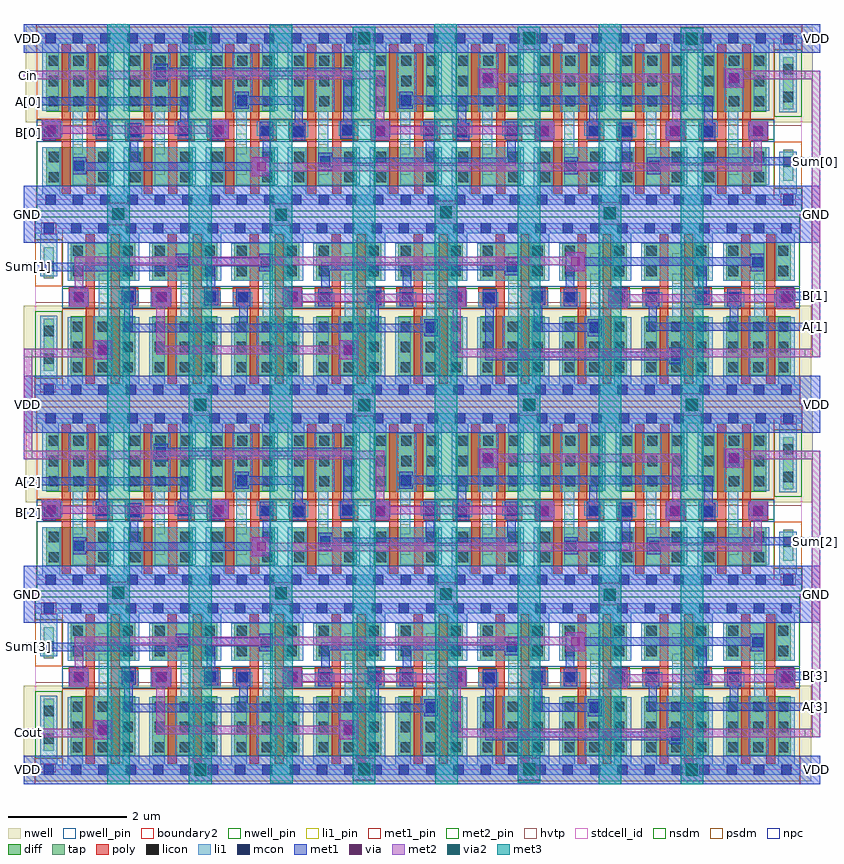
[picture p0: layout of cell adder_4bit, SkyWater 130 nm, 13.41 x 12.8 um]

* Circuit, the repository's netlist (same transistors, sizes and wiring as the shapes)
* NGSPICE file created from adder_4bit.ext - technology: sky130A

.subckt sky130_fd_sc_hd__nand2_1 A B VGND VNB VPB VPWR Y
X0 VPWR A Y VPB sky130_fd_pr__pfet_01v8_hvt ad=0.26 pd=2.52 as=0.135 ps=1.27 w=1 l=0.15
X1 Y A a_113_47# VNB sky130_fd_pr__nfet_01v8 ad=0.169 pd=1.82 as=0.08775 ps=0.92 w=0.65 l=0.15
X2 a_113_47# B VGND VNB sky130_fd_pr__nfet_01v8 ad=0.08775 pd=0.92 as=0.169 ps=1.82 w=0.65 l=0.15
X3 Y B VPWR VPB sky130_fd_pr__pfet_01v8_hvt ad=0.135 pd=1.27 as=0.26 ps=2.52 w=1 l=0.15
.ends

.subckt adder_1bit A B Cin Cout Sum VDD GND
Xx1 A B GND GND VDD VDD x9/A sky130_fd_sc_hd__nand2_1
Xx3 x9/A B GND GND VDD VDD x4/B sky130_fd_sc_hd__nand2_1
Xx2 A x9/A GND GND VDD VDD x4/A sky130_fd_sc_hd__nand2_1
Xx4 x4/A x4/B GND GND VDD VDD x6/A sky130_fd_sc_hd__nand2_1
Xx5 x6/A Cin GND GND VDD VDD x9/B sky130_fd_sc_hd__nand2_1
Xx6 x6/A x9/B GND GND VDD VDD x8/A sky130_fd_sc_hd__nand2_1
Xx7 x9/B Cin GND GND VDD VDD x8/B sky130_fd_sc_hd__nand2_1
Xx8 x8/A x8/B GND GND VDD VDD Sum sky130_fd_sc_hd__nand2_1
Xx9 x9/A x9/B GND GND VDD VDD Cout sky130_fd_sc_hd__nand2_1
.ends

.subckt adder_4bit Cin Cout VDD GND A[0] B[0] A[2] B[2] B[1] A[1] Sum[2] B[3] A[3]
+ Sum[0] Sum[1] Sum[3]
Xx1 A[0] B[0] Cin x2/Cin Sum[0] VDD GND adder_1bit
Xx2 A[1] B[1] x2/Cin x3/Cin Sum[1] VDD GND adder_1bit
Xx3 A[2] B[2] x3/Cin x4/Cin Sum[2] VDD GND adder_1bit
Xx4 A[3] B[3] x4/Cin Cout Sum[3] VDD GND adder_1bit
.ends

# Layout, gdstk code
from math import pi, radians
import gdstk
lib = gdstk.Library(unit=1e-6, precision=1e-09)
def R(c, l, rs):  # rectangles x0, y0, x1, y1
    for r in rs: c.add(gdstk.rectangle(r[:2], r[2:], *l))
def A(c, l, x, y, w, h, nx, ny, dx, dy):  # array of equal rectangles
    R(c, l, [(x+i*dx, y+j*dy, x+i*dx+w, y+j*dy+h) for i in range(nx) for j in range(ny)])
def P(c, l, *ps):  # polygons
    for p in ps: c.add(gdstk.Polygon(p, *l))
nwell_pin = (64, 16)
nwell = (64, 20)
diff = (65, 20)
tap = (65, 44)
poly = (66, 20)
licon = (66, 44)
li1_pin = (67, 16)
li1 = (67, 20)
mcon = (67, 44)
met1_pin = (68, 16)
met1 = (68, 20)
via = (68, 44)
met2_pin = (69, 16)
met2 = (69, 20)
via2 = (69, 44)
met3 = (70, 20)
hvtp = (78, 44)
stdcell_id = (81, 4)
nsdm = (93, 44)
psdm = (94, 20)
npc = (95, 20)
pwell_pin = (122, 16)
boundary2 = (236, 0)

sky130_fd_sc_hd__nand2_1 = lib.new_cell('sky130_fd_sc_hd__nand2_1')
R(sky130_fd_sc_hd__nand2_1, nwell_pin, [(0.14,2.635,0.31,2.805)])
R(sky130_fd_sc_hd__nand2_1, nwell, [(-0.19,1.305,1.57,2.91)])
R(sky130_fd_sc_hd__nand2_1, diff, [(0.155,0.235,1.245,0.885), (0.155,1.485,1.245,2.485)])
P(sky130_fd_sc_hd__nand2_1, poly, [(1.275,1.325),(0.985,1.325),(0.985,2.615),(0.835,2.615),(0.835,0.105),(0.985,0.105),(0.985,0.995),(1.275,0.995)],
  [(0.565,2.615),(0.415,2.615),(0.415,1.325),(0.105,1.325),(0.105,0.995),(0.415,0.995),(0.415,0.105),(0.565,0.105)])
A(sky130_fd_sc_hd__nand2_1, licon, 0.195, 1.575, 0.17, 0.17, 3, 3, 0.42, 0.34)
R(sky130_fd_sc_hd__nand2_1, licon, [(0.195,0.295,0.365,0.465), (1.035,0.295,1.205,0.465), (0.195,0.635,0.365,0.805), (1.035,0.635,1.205,0.805), (0.18,1.075,0.35,1.245), (1.02,1.075,1.19,1.245)])
A(sky130_fd_sc_hd__nand2_1, li1_pin, 0.14, 1.105, 0.17, 0.17, 3, 1, 0.46, 0)
R(sky130_fd_sc_hd__nand2_1, li1_pin, [(0.6,0.425,0.77,0.595), (0.6,0.765,0.77,0.935)])
R(sky130_fd_sc_hd__nand2_1, li1, [(0.095,1.055,0.43,1.325), (0.94,1.075,1.275,1.325)])
P(sky130_fd_sc_hd__nand2_1, li1, [(1.38,0.085),(0.395,0.085),(0.395,0.885),(0.085,0.885),(0.085,0.085),(0,0.085),(0,-0.085),(1.38,-0.085)],
  [(1.38,2.805),(0,2.805),(0,2.635),(0.085,2.635),(0.085,1.495),(0.365,1.495),(0.365,2.635),(1.035,2.635),(1.035,1.495),(1.295,1.495),(1.295,2.635),(1.38,2.635)],
  [(1.295,0.885),(0.77,0.885),(0.77,1.485),(0.865,1.485),(0.865,2.465),(0.535,2.465),(0.535,1.485),(0.6,1.485),(0.6,0.255),(1.295,0.255)])
A(sky130_fd_sc_hd__nand2_1, mcon, 0.145, -0.085, 0.17, 0.17, 3, 2, 0.46, 2.72)
R(sky130_fd_sc_hd__nand2_1, met1_pin, [(0.14,-0.085,0.31,0.085), (0.14,2.635,0.31,2.805)])
R(sky130_fd_sc_hd__nand2_1, hvtp, [(0,1.25,1.38,2.72)])
R(sky130_fd_sc_hd__nand2_1, stdcell_id, [(0,0,1.38,2.72)])
R(sky130_fd_sc_hd__nand2_1, nsdm, [(0,-0.19,1.38,1.015)])
R(sky130_fd_sc_hd__nand2_1, psdm, [(0,1.355,1.38,2.91)])
R(sky130_fd_sc_hd__nand2_1, npc, [(0,0.975,1.38,1.345)])
R(sky130_fd_sc_hd__nand2_1, pwell_pin, [(0.14,-0.085,0.31,0.085)])
R(sky130_fd_sc_hd__nand2_1, boundary2, [(0,0,1.38,2.72)])
sky130_fd_sc_hd__nand2_1.add(gdstk.FlexPath([(0,2.72),(1.38,2.72)], 0.48, ends="flush", simple_path=True, layer=68, datatype=20))  # met1
sky130_fd_sc_hd__nand2_1.add(gdstk.FlexPath([(0,0),(1.38,0)], 0.48, ends="flush", simple_path=True, layer=68, datatype=20))  # met1
sky130_fd_sc_hd__nand2_1.add(gdstk.Label('Y', (0.685,0.51), layer=67, texttype=5))
sky130_fd_sc_hd__nand2_1.add(gdstk.Label('Y', (0.685,0.85), layer=67, texttype=5))
sky130_fd_sc_hd__nand2_1.add(gdstk.Label('Y', (0.685,1.19), layer=67, texttype=5))
sky130_fd_sc_hd__nand2_1.add(gdstk.Label('B', (0.225,1.19), layer=67, texttype=5))
sky130_fd_sc_hd__nand2_1.add(gdstk.Label('A', (1.145,1.19), layer=67, texttype=5))
sky130_fd_sc_hd__nand2_1.add(gdstk.Label('VPB', (0.225,2.72), layer=64, texttype=5))
sky130_fd_sc_hd__nand2_1.add(gdstk.Label('VNB', (0.225,0), layer=64, texttype=59))
sky130_fd_sc_hd__nand2_1.add(gdstk.Label('VGND', (0.23,0), layer=68, texttype=5))
sky130_fd_sc_hd__nand2_1.add(gdstk.Label('VPWR', (0.225,2.72), layer=68, texttype=5))
sky130_fd_sc_hd__nand2_1.add(gdstk.Label('nand2_1', (0,0), layer=83, texttype=44))

sky130_fd_sc_hd__tapvpwr = lib.new_cell('sky130_fd_sc_hd__tapvpwrvgnd_1')
R(sky130_fd_sc_hd__tapvpwr, nwell, [(-0.19,1.305,0.65,2.91)])
R(sky130_fd_sc_hd__tapvpwr, tap, [(0.145,0.32,0.315,0.845), (0.145,1.525,0.315,2.4)])
R(sky130_fd_sc_hd__tapvpwr, licon, [(0.145,0.555,0.315,0.725), (0.145,1.645,0.315,1.815), (0.145,2.11,0.315,2.28)])
R(sky130_fd_sc_hd__tapvpwr, li1, [(0,-0.085,0.46,0.085), (0.085,0,0.375,0.81), (0.085,1.47,0.375,2.72), (0,2.635,0.46,2.805)])
R(sky130_fd_sc_hd__tapvpwr, mcon, [(0.145,-0.085,0.315,0.085), (0.145,2.635,0.315,2.805)])
R(sky130_fd_sc_hd__tapvpwr, met1_pin, [(0.105,-0.09,0.36,0.1), (0.11,2.62,0.375,2.765)])
R(sky130_fd_sc_hd__tapvpwr, met1, [(0,-0.24,0.46,0.24), (0,2.48,0.46,2.96)])
R(sky130_fd_sc_hd__tapvpwr, hvtp, [(0,1.25,0.46,2.72)])
R(sky130_fd_sc_hd__tapvpwr, stdcell_id, [(0,0,0.46,2.72)])
R(sky130_fd_sc_hd__tapvpwr, nsdm, [(0,-0.19,0.46,0.19), (0,1.395,0.46,2.53)])
R(sky130_fd_sc_hd__tapvpwr, psdm, [(0,0.19,0.46,0.975), (0,2.53,0.46,2.91)])
sky130_fd_sc_hd__tapvpwr.add(gdstk.Label('VPWR', (0.23,2.72), layer=68, texttype=5))
sky130_fd_sc_hd__tapvpwr.add(gdstk.Label('VGND', (0.23,0), layer=68, texttype=5))
sky130_fd_sc_hd__tapvpwr.add(gdstk.Label('tapvpwrvgnd_1', (0,0), layer=83, texttype=44))

adder_1bit = lib.new_cell('adder_1bit')
A(adder_1bit, li1, 1.75, 1.3, 0.17, 0.17, 3, 1, 1.38, 0)
A(adder_1bit, li1, 1.21, 1.32, 0.17, 0.17, 3, 1, 1.38, 0)
R(adder_1bit, li1, [(0.82,0.73,0.99,0.9), (9.1,0.73,9.27,0.9), (10.5,0.73,10.67,0.9), (4.96,0.8,5.13,0.97), (0.31,1.3,0.48,1.47), (7.27,1.3,7.44,1.47), (11.41,1.3,11.58,1.47), (5.88,1.31,6.05,1.48), (8.65,1.31,8.82,1.48), (10.02,1.31,10.19,1.48), (10.85,1.31,11.02,1.48), (12.25,1.31,12.42,1.48), (6.73,1.32,6.9,1.49), (8.1,1.32,8.27,1.49), (9.48,1.32,9.65,1.49), (5.33,1.33,5.5,1.5), (3.56,1.83,3.73,2), (6.32,1.83,6.49,2), (7.7,2.2,7.87,2.37), (11.84,2.2,12.01,2.37), (2.19,2.3,2.36,2.47)])
A(adder_1bit, mcon, 1.75, 1.3, 0.17, 0.17, 3, 1, 1.38, 0)
A(adder_1bit, mcon, 1.21, 1.32, 0.17, 0.17, 3, 1, 1.38, 0)
R(adder_1bit, mcon, [(0.82,0.73,0.99,0.9), (9.1,0.73,9.27,0.9), (10.5,0.73,10.67,0.9), (4.96,0.8,5.13,0.97), (0.31,1.3,0.48,1.47), (7.27,1.3,7.44,1.47), (11.41,1.3,11.58,1.47), (5.88,1.31,6.05,1.48), (8.65,1.31,8.82,1.48), (10.02,1.31,10.19,1.48), (10.85,1.31,11.02,1.48), (12.25,1.31,12.42,1.48), (6.73,1.32,6.9,1.49), (8.1,1.32,8.27,1.49), (9.48,1.32,9.65,1.49), (5.33,1.33,5.5,1.5), (3.56,1.83,3.73,2), (6.32,1.83,6.49,2), (7.7,2.2,7.87,2.37), (11.84,2.2,12.01,2.37), (2.19,2.3,2.36,2.47)])
R(adder_1bit, met1_pin, [(-0.03,0,0.19,0.48), (13.07,0,13.26,0.48), (13.12,0.82,13.26,0.96), (-0.03,1.31,0.11,1.45), (-0.03,1.83,0.11,1.97), (-0.03,2.72,0.19,3.2), (13.07,2.72,13.26,3.2)])
A(adder_1bit, met1, 1.72, 1.24, 0.23, 0.29, 3, 1, 2.76, 0)
A(adder_1bit, met1, 1.18, 1.26, 0.23, 0.29, 3, 1, 1.38, 0)
R(adder_1bit, met1, [(-0.03,0,13.26,0.48), (3.81,0.64,4.13,0.73), (0.79,0.67,1.02,0.73), (9.07,0.67,9.3,0.74), (10.47,0.67,10.7,0.82), (0.79,0.73,4.13,0.87), (4.93,0.74,5.16,0.81), (9.07,0.74,10.18,0.88), (4.93,0.81,8.25,0.95), (10.47,0.82,13.26,0.96), (0.79,0.87,1.02,0.96), (1.76,0.87,1.9,1.24), (3.81,0.87,4.13,0.96), (9.07,0.88,9.3,0.96), (10.04,0.88,10.18,1.25), (4.93,0.95,5.16,1.03), (6.74,0.95,6.88,1.26), (8.11,0.95,8.25,1.26), (3.99,0.96,4.13,1.26), (0.28,1.24,0.51,1.27), (3.1,1.24,3.33,1.27), (5.81,1.24,6.13,1.56), (8.58,1.24,8.9,1.56), (10.78,1.24,11.1,1.56), (11.38,1.24,11.61,1.53), (12.18,1.24,12.5,1.56), (9.99,1.25,10.22,1.54), (6.7,1.26,6.93,1.55), (8.07,1.26,8.3,1.55), (9.45,1.26,9.68,1.55), (0.27,1.27,0.59,1.31), (3.1,1.27,3.42,1.59), (5.3,1.27,5.53,1.56), (-0.03,1.31,0.59,1.45), (0.27,1.45,0.59,1.59), (4.53,1.53,4.67,1.84), (7.28,1.53,7.42,1.85), (11.43,1.53,11.57,1.85), (1.23,1.55,1.37,1.83), (2.6,1.55,2.74,1.83), (9.49,1.55,9.63,1.85), (5.35,1.56,5.49,2.32), (3.53,1.77,3.76,1.84), (6.29,1.77,6.52,1.85), (-0.03,1.83,2.74,1.97), (3.53,1.84,4.67,1.98), (6.29,1.85,11.57,1.99), (3.53,1.98,3.76,2.06), (6.29,1.99,6.52,2.06), (7.63,2.13,7.95,2.45), (11.77,2.13,12.09,2.45), (2.16,2.24,2.39,2.32), (2.16,2.32,5.49,2.46), (2.16,2.46,2.39,2.53), (-0.03,2.72,13.26,3.2)])
R(adder_1bit, via, [(3.895,0.725,4.045,0.875), (5.895,1.325,6.045,1.475), (8.665,1.325,8.815,1.475), (10.865,1.325,11.015,1.475), (12.265,1.325,12.415,1.475), (0.355,1.355,0.505,1.505), (3.185,1.355,3.335,1.505), (7.715,2.215,7.865,2.365), (11.855,2.215,12.005,2.365)])
R(adder_1bit, met2_pin, [(-0.03,2.27,0.11,2.41), (13.12,2.27,13.26,2.41)])
R(adder_1bit, met2, [(3.81,0.64,4.13,0.72), (3.81,0.72,12.4,0.86), (3.81,0.86,4.13,0.96), (12.26,0.86,12.4,1.24), (5.81,1.24,6.13,1.34), (8.58,1.24,8.9,1.34), (10.78,1.24,11.1,1.56), (12.18,1.24,12.5,1.56), (0.27,1.27,0.59,1.35), (3.1,1.27,3.42,1.35), (5.81,1.34,8.9,1.48), (0.27,1.35,3.42,1.49), (5.81,1.48,6.13,1.56), (8.58,1.48,8.9,1.56), (0.27,1.49,0.59,1.59), (3.1,1.49,3.42,1.59), (5.9,1.56,6.04,2.27), (10.89,1.56,11.03,2.22), (7.63,2.13,7.95,2.22), (11.77,2.13,12.09,2.27), (7.63,2.22,11.03,2.36), (-0.03,2.27,6.04,2.41), (11.77,2.27,13.26,2.41), (7.63,2.36,7.95,2.45), (11.77,2.41,12.09,2.45)])
adder_1bit.add(gdstk.Reference(sky130_fd_sc_hd__nand2_1, (0.19,0.24)))
adder_1bit.add(gdstk.Reference(sky130_fd_sc_hd__nand2_1, (1.57,0.24)))
adder_1bit.add(gdstk.Reference(sky130_fd_sc_hd__nand2_1, (2.95,0.24)))
adder_1bit.add(gdstk.Reference(sky130_fd_sc_hd__nand2_1, (4.33,0.24)))
adder_1bit.add(gdstk.Reference(sky130_fd_sc_hd__nand2_1, (5.71,0.24)))
adder_1bit.add(gdstk.Reference(sky130_fd_sc_hd__nand2_1, (7.09,0.24)))
adder_1bit.add(gdstk.Reference(sky130_fd_sc_hd__nand2_1, (8.47,0.24)))
adder_1bit.add(gdstk.Reference(sky130_fd_sc_hd__nand2_1, (9.85,0.24)))
adder_1bit.add(gdstk.Reference(sky130_fd_sc_hd__nand2_1, (11.23,0.24)))
adder_1bit.add(gdstk.Reference(sky130_fd_sc_hd__tapvpwr, (12.61,0.24)))
adder_1bit.add(gdstk.Label('A', (0.04,1.9), layer=68, texttype=5))
adder_1bit.add(gdstk.Label('B', (0.04,1.38), layer=68, texttype=5))
adder_1bit.add(gdstk.Label('Cin', (0.04,2.34), layer=69, texttype=5))
adder_1bit.add(gdstk.Label('Cout', (13.19,2.34), layer=69, texttype=5))
adder_1bit.add(gdstk.Label('Sum', (13.19,0.89), layer=68, texttype=5))
adder_1bit.add(gdstk.Label('VDD', (0.08,2.96), layer=68, texttype=5))
adder_1bit.add(gdstk.Label('VDD', (13.165,2.96), layer=68, texttype=5))
adder_1bit.add(gdstk.Label('GND', (0.08,0.24), layer=68, texttype=5))
adder_1bit.add(gdstk.Label('GND', (13.165,0.24), layer=68, texttype=5))

adder_4bit = lib.new_cell('adder_4bit')
R(adder_4bit, nwell, [(0.03,6.35,13.29,6.45)])
A(adder_4bit, met1_pin, 0, 2.72, 0.12, 0.96, 1, 3, 0, 3.2)
A(adder_4bit, met1_pin, 13.29, 2.72, 0.12, 0.96, 1, 3, 0, 3.2)
R(adder_4bit, met1_pin, [(0,0,0.12,0.48), (13.29,0,13.41,0.48), (13.27,1.23,13.41,1.37), (13.27,1.75,13.41,1.89), (0,2.24,0.14,2.38), (13.27,4.02,13.41,4.16), (0,4.51,0.14,4.65), (0,5.03,0.14,5.17), (13.27,7.63,13.41,7.77), (13.27,8.15,13.41,8.29), (0,8.64,0.14,8.78), (13.27,10.42,13.41,10.56), (0,10.91,0.14,11.05), (0,11.43,0.14,11.57), (0,12.32,0.12,12.8), (13.29,12.32,13.41,12.8)])
A(adder_4bit, met1, 0, 2.72, 13.41, 0.96, 1, 3, 0, 3.2)
R(adder_4bit, met1, [(0,0,13.41,0.48), (13.27,1.23,13.41,1.37), (13.27,1.75,13.41,1.89), (0,2.24,0.14,2.38), (13.27,4.02,13.41,4.16), (0,4.51,0.14,4.65), (0,5.03,0.14,5.17), (13.27,7.63,13.41,7.77), (13.27,8.15,13.41,8.29), (0,8.64,0.14,8.78), (13.27,10.42,13.41,10.56), (0,10.91,0.14,11.05), (0,11.43,0.14,11.57), (0,12.32,13.41,12.8)])
R(adder_4bit, via, [(2.895,0.165,3.045,0.315), (11.175,0.165,11.325,0.315), (5.655,0.175,5.805,0.325), (8.435,0.175,8.585,0.325), (9.815,3.115,9.965,3.265), (4.255,3.135,4.405,3.285), (7.035,3.135,7.185,3.285), (1.515,3.145,1.665,3.295), (5.655,6.305,5.805,6.455), (2.895,6.315,3.045,6.465), (8.435,6.315,8.585,6.465), (11.175,6.315,11.325,6.465), (4.255,9.515,4.405,9.665), (1.515,9.525,1.665,9.675), (9.795,9.535,9.945,9.685), (7.035,9.555,7.185,9.705), (11.175,12.475,11.325,12.625), (2.895,12.485,3.045,12.635), (5.655,12.485,5.805,12.635), (8.435,12.485,8.585,12.635)])
R(adder_4bit, met2_pin, [(0,0.79,0.14,0.93), (0,11.87,0.14,12.01)])
R(adder_4bit, met2, [(2.78,0.05,3.16,0.43), (11.06,0.05,11.44,0.43), (5.54,0.06,5.92,0.44), (8.32,0.06,8.7,0.44), (0,0.79,0.14,0.93), (13.27,0.79,13.41,5.61), (9.68,3.01,10.06,3.39), (4.14,3.02,4.52,3.4), (6.92,3.02,7.3,3.4), (1.4,3.03,1.78,3.41), (0,5.47,0.14,7.33), (5.54,6.19,5.92,6.57), (2.78,6.2,3.16,6.58), (8.32,6.2,8.7,6.58), (11.06,6.2,11.44,6.58), (13.27,7.19,13.41,12.01), (4.14,9.4,4.52,9.78), (1.4,9.41,1.78,9.79), (9.68,9.42,10.06,9.8), (6.92,9.44,7.3,9.82), (0,11.87,0.14,12.01), (11.06,12.36,11.44,12.74), (2.78,12.37,3.16,12.75), (5.54,12.37,5.92,12.75), (8.32,12.37,8.7,12.75)])
R(adder_4bit, via2, [(2.87,0.14,3.07,0.34), (11.15,0.14,11.35,0.34), (5.63,0.15,5.83,0.35), (8.41,0.15,8.61,0.35), (9.77,3.09,9.97,3.29), (7.01,3.1,7.21,3.3), (4.23,3.11,4.43,3.31), (1.49,3.12,1.69,3.32), (5.63,6.28,5.83,6.48), (2.87,6.29,3.07,6.49), (8.41,6.29,8.61,6.49), (11.15,6.29,11.35,6.49), (4.23,9.49,4.43,9.69), (1.49,9.5,1.69,9.7), (9.77,9.51,9.97,9.71), (7.01,9.53,7.21,9.73), (11.15,12.45,11.35,12.65), (2.87,12.46,3.07,12.66), (5.63,12.46,5.83,12.66), (8.41,12.46,8.61,12.66)])
R(adder_4bit, met3, [(1.4,0,1.78,12.8), (2.78,0,3.16,12.75), (5.54,0,5.92,12.75), (6.93,0,7.31,2.72), (9.68,0,10.06,12.8), (11.06,0,11.44,12.74), (4.15,0.01,4.53,2.72), (8.32,0.02,8.7,12.75), (4.14,2.72,4.53,3.09), (6.92,2.72,7.31,3.07), (6.92,3.07,7.3,9.77), (4.14,3.09,4.52,12.79), (6.91,9.77,7.3,10.08), (6.91,10.08,7.29,12.8)])
adder_4bit.add(gdstk.Reference(adder_1bit, (13.26,3.2), rotation=pi))
adder_4bit.add(gdstk.Reference(adder_1bit, (0.03,3.2)))
adder_4bit.add(gdstk.Reference(adder_1bit, (13.26,9.6), rotation=pi))
adder_4bit.add(gdstk.Reference(adder_1bit, (0.03,9.6)))
adder_4bit.add(gdstk.Label('Cin', (0.07,11.94), layer=69, texttype=5))
adder_4bit.add(gdstk.Label('Cout', (0.07,0.86), layer=69, texttype=5))
adder_4bit.add(gdstk.Label('VDD', (0.06,0.24), layer=68, texttype=5))
adder_4bit.add(gdstk.Label('VDD', (13.35,0.24), layer=68, texttype=5))
adder_4bit.add(gdstk.Label('VDD', (0.06,6.4), layer=68, texttype=5))
adder_4bit.add(gdstk.Label('VDD', (13.35,6.4), layer=68, texttype=5))
adder_4bit.add(gdstk.Label('VDD', (0.06,12.56), layer=68, texttype=5))
adder_4bit.add(gdstk.Label('VDD', (13.35,12.56), layer=68, texttype=5))
adder_4bit.add(gdstk.Label('GND', (13.35,3.2), layer=68, texttype=5))
adder_4bit.add(gdstk.Label('GND', (0.06,3.2), layer=68, texttype=5))
adder_4bit.add(gdstk.Label('GND', (0.06,9.6), layer=68, texttype=5))
adder_4bit.add(gdstk.Label('GND', (13.35,9.6), layer=68, texttype=5))
adder_4bit.add(gdstk.Label('A[0]', (0.07,11.5), layer=68, texttype=5))
adder_4bit.add(gdstk.Label('B[0]', (0.07,10.98), layer=68, texttype=5))
adder_4bit.add(gdstk.Label('A[2]', (0.07,5.1), layer=68, texttype=5))
adder_4bit.add(gdstk.Label('B[2]', (0.07,4.58), layer=68, texttype=5))
adder_4bit.add(gdstk.Label('B[1]', (13.34,8.22), layer=68, texttype=5))
adder_4bit.add(gdstk.Label('A[1]', (13.34,7.7), layer=68, texttype=5))
adder_4bit.add(gdstk.Label('Sum[2]', (13.34,4.09), layer=68, texttype=5))
adder_4bit.add(gdstk.Label('B[3]', (13.34,1.82), layer=68, texttype=5))
adder_4bit.add(gdstk.Label('A[3]', (13.34,1.3), layer=68, texttype=5))
adder_4bit.add(gdstk.Label('Sum[0]', (13.34,10.49), layer=68, texttype=5))
adder_4bit.add(gdstk.Label('Sum[1]', (0.07,8.71), layer=68, texttype=5))
adder_4bit.add(gdstk.Label('Sum[3]', (0.07,2.31), layer=68, texttype=5))

lib.write_gds('adder_4bit.gds')
